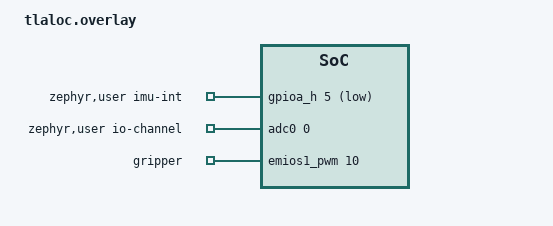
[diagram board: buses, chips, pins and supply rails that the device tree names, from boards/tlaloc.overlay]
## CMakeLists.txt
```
# tlaloc_llc: controlador de bajo nivel del Mobile Manipulator (Zephyr 4.5).
#   west build -b tlaloc AMR_LLC/firmware/tlaloc_llc        (hardware)
#   west build -b native_sim/native/64 AMR_LLC/firmware/tlaloc_llc   (SIL)
cmake_minimum_required(VERSION 3.20.0)

# Board out-of-tree: AMR_LLC/firmware/boards/omrover/tlaloc
list(APPEND BOARD_ROOT ${CMAKE_CURRENT_SOURCE_DIR}/..)

find_package(Zephyr REQUIRED HINTS $ENV{ZEPHYR_BASE})
project(tlaloc_llc)

set(LIB ${CMAKE_CURRENT_SOURCE_DIR}/../lib)
if(DEFINED ENV{AMR_ODOM_DIR})
  set(ODOM $ENV{AMR_ODOM_DIR})
else()
  set(ODOM ${CMAKE_CURRENT_SOURCE_DIR}/../../../AMR_localization/amr_odom)
endif()

target_include_directories(app PRIVATE
  src ${LIB}/amr_contract ${LIB}/amr_drive ${LIB}/roboclaw ${LIB}/bno08x ${LIB}/gim6010 ${ODOM})

target_sources(app PRIVATE
  src/main.c
  src/app_config.c
  src/llc.c
  src/gripper.c
  ${LIB}/amr_contract/amr_contract.c
  ${LIB}/amr_drive/amr_drive.c
  ${LIB}/roboclaw/roboclaw.c
  ${LIB}/bno08x/bno08x.c
  ${LIB}/gim6010/gim6010.c
  ${LIB}/gim6010/gim_arm.c
  ${ODOM}/omni.c
  ${ODOM}/ekf.c
)

if(CONFIG_ARCH_POSIX)
  target_sources(app PRIVATE
    src/hal_sim.c
    ${LIB}/roboclaw/roboclaw_sim.c
    ${LIB}/bno08x/bno08x_sim.c
    ${LIB}/gim6010/gim6010_sim.c)
else()
  target_sources(app PRIVATE src/hal_tlaloc.c)
endif()
```

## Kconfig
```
mainmenu "Tlaloc LLC (Mobile Manipulator)"

menu "Red y MQTT"

config TLALOC_BROKER_ADDR
	string "IPv4 del broker MQTT (la NUC en eno1)"
	default "192.168.50.1"

config TLALOC_BROKER_PORT
	int "Puerto del broker"
	default 18883

config TLALOC_MQTT_PREFIX
	string "Prefijo de topics (único por robot)"
	default "omrover/mm01"

endmenu

menu "Tracción (RoboClaw)"

config TLALOC_ALLOW_MOTION
	bool "Aceptar cmd/vel"
	default y
	help
	  Deshabilitado, todo cmd/vel se trata como inválido: la base queda
	  detenida pero se sigue publicando odometría (útil para empujar el
	  robot a mano y verificar encoders).

config TLALOC_COUNTS_PER_REV
	int "Cuentas de encoder por vuelta de RUEDA"
	default 2000
	help
	  E6B2-CWZ de 500 PPR x4 montado en el eje de la rueda (una vuelta de
	  rueda = una del encoder = dos del motor). Verificar: marcar la rueda,
	  girarla una vuelta a mano y leer el encoder en Motion Studio.

config TLALOC_MAX_QPPS
	int "QPPS máximo configurado en las RoboClaw"
	default 5000

config TLALOC_WHEEL_MAX_RPM
	int "Velocidad máxima física de la rueda (rpm)"
	default 82
	help
	  Motor de 165 rpm con rueda:motor 1:2. El límite por rueda es el menor
	  entre este valor (con 10 % de margen) y TLALOC_MAX_QPPS (3 %).

config TLALOC_RC_SERIAL_TIMEOUT_DS
	int "Timeout de Packet Serial que se programa en las RoboClaw (décimas de s)"
	range 0 255
	default 5
	help
	  Se envía al arrancar y tras cada reconexión (comando 14, volátil). Si el
	  MCU deja de enviar tramas, las RoboClaw detienen los motores en este
	  tiempo. 0 = no tocar el valor guardado en la RoboClaw.

config TLALOC_ARM_LIMIT_COUNTS
	int "Límite de seguridad del brazo en el MCU (counts, simétrico)"
	default 16384
	help
	  Ningún goal del brazo puede salir de +-este valor por junta. Con 16384
	  counts por vuelta del eje de salida equivale a +-360 grados. Si los
	  counts resultan ser del rotor (reductor 8:1, arm_gear_ratio = 8 en
	  arm.yaml), subirlo a 131072.

config TLALOC_SIGN_WHEEL1_FL
	int "Signo rueda 1 (fl, RoboClaw 128 M1)"
	range -1 1
	default 1

config TLALOC_SIGN_WHEEL2_RL
	int "Signo rueda 2 (rl, RoboClaw 129 M1)"
	range -1 1
	default 1

config TLALOC_SIGN_WHEEL3_RR
	int "Signo rueda 3 (rr, RoboClaw 129 M2)"
	range -1 1
	default 1

config TLALOC_SIGN_WHEEL4_FR
	int "Signo rueda 4 (fr, RoboClaw 128 M2)"
	range -1 1
	default 1

endmenu

menu "IMU (BNO080)"

config TLALOC_BNO080_ADDR
	hex "Dirección I2C de la BNO080"
	default 0x4A
	help
	  0x4A con SA0/DI a GND, 0x4B con SA0 a VCC.

config TLALOC_IMU_Z_DOWN
	bool "La BNO080 está montada con su eje z hacia abajo"

endmenu

menu "Gripper"

config TLALOC_GRIP_PULSE_OPEN_US
	int "Pulso del servo con el gripper abierto (us)"
	default 1000

config TLALOC_GRIP_PULSE_CLOSED_US
	int "Pulso del servo con el gripper cerrado (us)"
	default 2000

config TLALOC_ACS712_MV_PER_A_X10
	int "Sensibilidad del ACS712 vista en el ADC (mV/A x10)"
	default 1233
	help
	  ACS712-05B = 185 mV/A multiplicado por la relación del divisor hacia
	  el ADC de 3.3 V. Por defecto 2/3 (10k en serie y 20k a GND): 123.3.
	  Con 10k/10k (1/2) usar 925. El ACS712 pide >= 4.7k de carga, así que
	  no usar resistencias de 1k en el divisor.

config TLALOC_SIM_GRIP_OBJECT
	bool "native_sim: hay una pieza a media carrera del gripper"
	depends on ARCH_POSIX
	default y

endmenu

config TLALOC_FS26_WATCHDOG
	bool "Habilitar y alimentar el watchdog del FS26"
	default y if WDT_NXP_FS26
	help
	  Con el FS26 en modo normal, un firmware colgado provoca un reset. Al
	  depurar con breakpoints, poner el FS26 en modo debug o deshabilitarlo.

source "Kconfig.zephyr"
```

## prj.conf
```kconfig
# Red + MQTT 3.1.1 sobre TCP (enlace punto a punto con la NUC)
CONFIG_NETWORKING=y
CONFIG_NET_IPV4=y
CONFIG_NET_IPV6=n
CONFIG_NET_TCP=y
CONFIG_NET_SOCKETS=y
CONFIG_POSIX_API=y
CONFIG_MQTT_LIB=y

# printf de float/int64 en el JSON
CONFIG_CBPRINTF_FP_SUPPORT=y
CONFIG_REQUIRES_FULL_LIBC=y

CONFIG_LOG=y
CONFIG_MAIN_STACK_SIZE=6144
# main = cliente MQTT: por debajo de los hilos de control (2) e IMU (3)
CONFIG_MAIN_THREAD_PRIORITY=5
CONFIG_SYSTEM_WORKQUEUE_STACK_SIZE=2048

CONFIG_ENTROPY_GENERATOR=y
CONFIG_TEST_RANDOM_GENERATOR=y
```

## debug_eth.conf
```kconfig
# Diagnóstico del enlace Ethernet (KSZ8091RND). Se agrega al build normal:
#   west build -b tlaloc -p -- -DEXTRA_CONF_FILE=debug_eth.conf
# Shell en la consola OpenSDA (115200): `net iface`, `net ping 192.168.50.1`,
# `mdio ...` para leer registros del PHY. Ver README, "Si no hay enlace".
CONFIG_SHELL=y
CONFIG_SHELL_STACK_SIZE=4096
CONFIG_NET_SHELL=y
CONFIG_MDIO_SHELL=y
CONFIG_PHY_LOG_LEVEL_DBG=y
CONFIG_ETHERNET_LOG_LEVEL_DBG=y
# Sin movimiento: solo se prueba la red
CONFIG_TLALOC_ALLOW_MOTION=n
```

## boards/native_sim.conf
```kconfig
# SIL: el firmware corre como proceso Linux con RoboClaw y BNO080 simuladas y
# habla con el broker local por sockets del host.
CONFIG_NET_DRIVERS=y
CONFIG_NET_SOCKETS_OFFLOAD=y
CONFIG_NET_NATIVE_OFFLOADED_SOCKETS=y
CONFIG_ETH_NATIVE_TAP=n
CONFIG_TLALOC_BROKER_ADDR="127.0.0.1"
# boot_id distinto en cada ejecución
CONFIG_NATIVE_EXTRA_CMDLINE_ARGS="--seed-random"
# Tick de 1 ms: llc/imu sale cada 10 ms (con el default de 100 Hz se pierde la mitad)
CONFIG_SYS_CLOCK_TICKS_PER_SEC=1000
```

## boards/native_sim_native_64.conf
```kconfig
# SIL: el firmware corre como proceso Linux con RoboClaw y BNO080 simuladas y
# habla con el broker local por sockets del host.
CONFIG_NET_DRIVERS=y
CONFIG_NET_SOCKETS_OFFLOAD=y
CONFIG_NET_NATIVE_OFFLOADED_SOCKETS=y
CONFIG_ETH_NATIVE_TAP=n
CONFIG_TLALOC_BROKER_ADDR="127.0.0.1"
# boot_id distinto en cada ejecución
CONFIG_NATIVE_EXTRA_CMDLINE_ARGS="--seed-random"
```

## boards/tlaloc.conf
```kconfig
# IP estática en el enlace Ethernet directo con la NUC (eno1 = 192.168.50.1)
CONFIG_NET_CONFIG_SETTINGS=y
CONFIG_NET_CONFIG_NEED_IPV4=y
CONFIG_NET_CONFIG_MY_IPV4_ADDR="192.168.50.20"
CONFIG_NET_CONFIG_MY_IPV4_NETMASK="255.255.255.0"
CONFIG_NET_CONFIG_INIT_TIMEOUT=10

CONFIG_SERIAL=y
CONFIG_UART_INTERRUPT_DRIVEN=y
CONFIG_I2C=y
CONFIG_GPIO=y
CONFIG_PWM=y
CONFIG_ADC=y
CONFIG_SPI=y
# Brazo: 4 GIM6010-8 en FlexCAN0 a 1 Mbps
CONFIG_CAN=y
CONFIG_WATCHDOG=y

# El EKF y la cinemática usan float; el Cortex-M7 tiene FPU
CONFIG_FPU=y
```

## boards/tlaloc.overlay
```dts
/*
 * Señales que usa la app (el hardware está en boards/omrover/tlaloc).
 */
#include <zephyr/dt-bindings/pwm/pwm.h>

/ {
	zephyr,user {
		/* servo del gripper a 50 Hz en eMIOS1 ch10 (PTA27) */
		pwms = <&emios1_pwm 10 PWM_MSEC(20) PWM_POLARITY_NORMAL>;
		pwm-names = "gripper";
		/* ACS712 en ADC0 precisión ch0 (PTD1) */
		io-channels = <&adc0 0>;
		/* INT de la BNO080, activo bajo, PTA21 = gpioa_h 5 (EIRQ3) */
		imu-int-gpios = <&gpioa_h 5 GPIO_ACTIVE_LOW>;
	};
};
```

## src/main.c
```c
/*
 * tlaloc_llc: controlador de bajo nivel del Mobile Manipulator en la Tlaloc
 * (S32K344). Contrato MQTT v1 con la NUC (AMR_LLC/protocol/CONTRACT.md).
 *
 * Hilos (prioridad, periodo):
 *   control (2, 20 ms): watchdog de cmd/vel, RoboClaw, EKF, gripper, batería,
 *                       FS26. Funciona aunque se caiga la red: sin enlace frena.
 *   imu     (3, INT):   BNO080 por I2C (SH-2), entrega datos al núcleo.
 *   main    (MQTT):     conexión, comandos (QoS 1 con PUBACK y ack del
 *                       contrato) y telemetría a las tasas del contrato.
 * Toda la lógica vive en llc.c (probada en host); aquí solo hay hilos y red.
 */
#include <errno.h>
#include <stdio.h>
#include <string.h>

#include <zephyr/kernel.h>
#include <zephyr/logging/log.h>
#include <zephyr/net/mqtt.h>
#include <zephyr/net/socket.h>
#include <zephyr/random/random.h>
#include <zephyr/sys/atomic.h>

#include "app_config.h"
#include "hal.h"
#include "llc.h"

LOG_MODULE_REGISTER(tlaloc, LOG_LEVEL_INF);

#define CONTROL_PERIOD_MS 20
#define TOPIC_MAX 64

static llc_t llc;
static llc_imu_t imu;
static K_MUTEX_DEFINE(core_lock);
static atomic_t mqtt_up;
static char boot_id[17];
static char client_id[TOPIC_MAX];

/* --------------------------------------------------------------------- hilos */

static void control_thread(void *a, void *b, void *c)
{
	ARG_UNUSED(a);
	ARG_UNUSED(b);
	ARG_UNUSED(c);
	int64_t next = k_uptime_get();
	bool zero_logged = false;
	uint32_t faults_logged = 0;

	while (true) {
		uint32_t t0 = k_cycle_get_32();
		uint32_t now = k_uptime_get_32();
		uint32_t faults;
		float zero_mv = -1.0f;

		k_mutex_lock(&core_lock, K_FOREVER);
		llc_control_step(&llc, now, atomic_get(&mqtt_up) != 0);
		llc.cpu = (float)k_cyc_to_us_floor32(k_cycle_get_32() - t0) /
			  (CONTROL_PERIOD_MS * 1000.0f);
		faults = llc.faults;
		if (!zero_logged && llc.grip.zero_ready) {
			zero_mv = llc.grip.zero_mv;
		}
		k_mutex_unlock(&core_lock);
		hal_wdt_kick(now);

		/* diagnóstico de bring-up en la consola (fuera del lock) */
		if (zero_mv >= 0.0f) {
			zero_logged = true;
			LOG_INF("ACS712: cero en %.1f mV", (double)zero_mv);
		}
		if (faults != faults_logged) {
			LOG_INF("faults 0x%02x (bits: 0 RC128, 1 RC129, 2 IMU, 5 gripper, 6 batería)",
				faults);
			faults_logged = faults;
		}

		next += CONTROL_PERIOD_MS;
		if (next < k_uptime_get()) {
			next = k_uptime_get() + CONTROL_PERIOD_MS; /* atrasado: no acumular */
		}
		k_sleep(K_TIMEOUT_ABS_MS(next));
	}
}

K_THREAD_DEFINE(control_tid, 3072, control_thread, NULL, NULL, NULL, K_PRIO_PREEMPT(2), 0,
		K_TICKS_FOREVER);

static void imu_thread(void *a, void *b, void *c)
{
	ARG_UNUSED(a);
	ARG_UNUSED(b);
	ARG_UNUSED(c);
	uint32_t errors = 0;

	while (true) {
		hal_imu_wait(5);
		uint32_t now = k_uptime_get_32();
		int upd = llc_imu_service(&imu, now, 8);

		if (upd > 0) {
			k_mutex_lock(&core_lock, K_FOREVER);
			llc_imu_sample(&llc, &imu.bno.data, (uint32_t)upd, now);
			k_mutex_unlock(&core_lock);
		} else if (upd < 0) {
			if ((errors++ % 200U) == 0U) {
				LOG_WRN("BNO080 sin respuesta en 0x%02x", CONFIG_TLALOC_BNO080_ADDR);
			}
			k_msleep(5); /* INT pegado o bus caído: no girar en vacío */
		}
	}
}

K_THREAD_DEFINE(imu_tid, 2048, imu_thread, NULL, NULL, NULL, K_PRIO_PREEMPT(3), 0,
		K_TICKS_FOREVER);

/* ------------------------------------------------- shell de diagnóstico */

#ifdef CONFIG_SHELL
#include <stdlib.h>
#include <zephyr/shell/shell.h>

/* rc stat: bytes por la UART de las RoboClaw y estado del driver. */
static int cmd_rc_stat(const struct shell *sh, size_t argc, char **argv)
{
	hal_rc_stats_t s;

	ARG_UNUSED(argc);
	ARG_UNUSED(argv);
	hal_rc_stats(&s);
	k_mutex_lock(&core_lock, K_FOREVER);
	shell_print(sh, "uart: tx %u B, rx %u B, rx descartados %u, errores uart %u",
		    s.tx_bytes, s.rx_bytes, s.rx_dropped, s.uart_errors);
	for (int r = 0; r < 2; r++) {
		shell_print(sh, "rc %u: fallas seguidas %u, rc_err %u", llc.cfg.drive.rc_addr[r],
			    llc.drive.fail_count[r], llc.rc_err[r]);
	}
	k_mutex_unlock(&core_lock);
	return 0;
}

/* rc probe <addr>: pide la versión (cmd 21) y muestra la respuesta cruda. El
 * hilo de control queda fuera de la UART mientras dura (core_lock). */
static int cmd_rc_probe(const struct shell *sh, size_t argc, char **argv)
{
	rc_transport_t t = hal_roboclaw_transport();
	uint8_t req[2] = {(uint8_t)strtoul(argc > 1 ? argv[1] : "128", NULL, 0), 21U};
	uint8_t resp[64];
	size_t n = 0;
	char line[3 * sizeof(resp) + 1];
	char text[sizeof(resp) + 1];

	k_mutex_lock(&core_lock, K_FOREVER);
	k_msleep(30); /* que termine cualquier respuesta en curso */
	t.flush_rx(t.ctx);
	t.write(t.ctx, req, sizeof(req));
	while (n < sizeof(resp) && t.read(t.ctx, &resp[n], 1, n == 0 ? 50 : 10) == 0) {
		n++;
	}
	k_mutex_unlock(&core_lock);

	for (size_t i = 0; i < n; i++) {
		snprintf(&line[3 * i], 4, "%02x ", resp[i]);
		text[i] = (resp[i] >= 0x20 && resp[i] < 0x7f) ? (char)resp[i] : '.';
	}
	line[3 * n] = '\0';
	text[n] = '\0';
	if (n == 0) {
		shell_print(sh, "addr %u: sin respuesta en 50 ms", req[0]);
	} else {
		shell_print(sh, "addr %u: %u B: %s", req[0], (unsigned)n, line);
		shell_print(sh, "texto: %s", text);
	}
	return 0;
}

SHELL_STATIC_SUBCMD_SET_CREATE(rc_cmds,
	SHELL_CMD(stat, NULL, "Contadores de la UART de las RoboClaw", cmd_rc_stat),
	SHELL_CMD_ARG(probe, NULL, "probe <addr>: versión cruda (cmd 21)", cmd_rc_probe, 1, 1),
	SHELL_SUBCMD_SET_END);
SHELL_CMD_REGISTER(rc, &rc_cmds, "Diagnóstico de las RoboClaw", NULL);
#endif /* CONFIG_SHELL */

/* ---------------------------------------------------------------------- MQTT */

static const char *const cmd_names[LLC_CMD_COUNT] = {
	[LLC_CMD_VEL] = "cmd/vel",
	[LLC_CMD_ARM] = "cmd/arm",
	[LLC_CMD_GRIPPER] = "cmd/gripper",
	[LLC_CMD_ESTOP] = "cmd/estop",
	[LLC_CMD_ODOM_RESET] = "cmd/odom_reset",
};

static const struct {
	const char *name;
	uint32_t period_ms;
	enum mqtt_qos qos;
} tel_def[LLC_TEL_COUNT] = {
	[LLC_TEL_ODOM] = {"llc/odom", 20, MQTT_QOS_0_AT_MOST_ONCE},
	[LLC_TEL_IMU] = {"llc/imu", 10, MQTT_QOS_0_AT_MOST_ONCE},
	[LLC_TEL_WHEELS] = {"llc/wheels", 50, MQTT_QOS_0_AT_MOST_ONCE},
	[LLC_TEL_ARM] = {"llc/arm", 20, MQTT_QOS_0_AT_MOST_ONCE},
	[LLC_TEL_BATTERY] = {"llc/battery", 1000, MQTT_QOS_0_AT_MOST_ONCE},
	[LLC_TEL_STATUS] = {"llc/status", 500, MQTT_QOS_1_AT_LEAST_ONCE},
};

static char cmd_topics[LLC_CMD_COUNT][TOPIC_MAX];
static char tel_topics[LLC_TEL_COUNT][TOPIC_MAX];
static char topic_ack[TOPIC_MAX];

static uint8_t rx_buf[AMR_MAX_PAYLOAD + 128];
static uint8_t tx_buf[AMR_MAX_PAYLOAD + 128];
static char payload[AMR_MAX_PAYLOAD + 1];
static char out[AMR_MAX_PAYLOAD];
static char lwt_payload[48];
static struct mqtt_client client;
static struct sockaddr_storage broker;
static struct mqtt_topic will_topic;
static struct mqtt_utf8 will_msg;
static uint16_t msg_id = 1;

static uint16_t next_msg_id(void)
{
	if (++msg_id == 0U) {
		msg_id = 1;
	}
	return msg_id;
}

static int publish(const char *topic, const char *data, size_t len, enum mqtt_qos qos,
		   bool retain)
{
	struct mqtt_publish_param p = {0};

	p.message.topic.topic.utf8 = (const uint8_t *)topic;
	p.message.topic.topic.size = strlen(topic);
	p.message.topic.qos = qos;
	p.message.payload.data = (uint8_t *)data;
	p.message.payload.len = len;
	p.message_id = qos == MQTT_QOS_0_AT_MOST_ONCE ? 0U : next_msg_id();
	p.retain_flag = retain ? 1U : 0U;
	return mqtt_publish(&client, &p);
}

static amr_hdr_t make_hdr(void)
{
	amr_hdr_t h = {boot_id, k_uptime_get()};

	return h;
}

static void handle_command(const struct mqtt_publish_param *pub)
{
	const struct mqtt_utf8 *t = &pub->message.topic.topic;
	uint32_t len = pub->message.payload.len;
	int topic = -1;
	bool ok = false;
	int n;

	for (int i = 0; i < LLC_CMD_COUNT; i++) {
		if (t->size == strlen(cmd_topics[i]) && memcmp(t->utf8, cmd_topics[i], t->size) == 0) {
			topic = i;
			break;
		}
	}
	if (len <= AMR_MAX_PAYLOAD) {
		ok = mqtt_readall_publish_payload(&client, (uint8_t *)payload, len) == 0;
	} else {
		/* demasiado largo para el contrato: se drena y se trata como inválido */
		while (len > 0U) {
			uint32_t chunk = MIN(len, (uint32_t)AMR_MAX_PAYLOAD);

			if (mqtt_readall_publish_payload(&client, (uint8_t *)payload, chunk) != 0) {
				break;
			}
			len -= chunk;
		}
		len = 0;
	}
	if (pub->message.topic.qos == MQTT_QOS_1_AT_LEAST_ONCE) {
		struct mqtt_puback_param ack = {.message_id = pub->message_id};

		(void)mqtt_publish_qos1_ack(&client, &ack);
	}
	if (topic < 0) {
		return;
	}
	if (!ok) {
		len = 0; /* el parser lo rechaza: cmd/vel inválido detiene la base */
	}
	payload[len] = '\0';
	if (topic == LLC_CMD_VEL && !IS_ENABLED(CONFIG_TLALOC_ALLOW_MOTION)) {
		len = 0;
	}

	amr_hdr_t h = make_hdr();

	k_mutex_lock(&core_lock, K_FOREVER);
	n = llc_command(&llc, (llc_cmd_topic_t)topic, payload, len, pub->retain_flag != 0U, &h,
			k_uptime_get_32(), out, sizeof(out));
	k_mutex_unlock(&core_lock);
	if (n > 0) {
		(void)publish(topic_ack, out, (size_t)n, MQTT_QOS_1_AT_LEAST_ONCE, false);
	}
}

static void mqtt_evt(struct mqtt_client *const c, const struct mqtt_evt *evt)
{
	ARG_UNUSED(c);

	switch (evt->type) {
	case MQTT_EVT_CONNACK:
		if (evt->result == 0) {
			if (boot_id[0] == '\0') {
				/* nuevo por cada reset del MCU; el bridge reinicia sus
				 * referencias al verlo cambiar */
				snprintf(boot_id, sizeof(boot_id), "%08x%08x", sys_rand32_get(),
					 k_cycle_get_32());
			}
			atomic_set(&mqtt_up, 1);
			LOG_INF("MQTT conectado, boot_id %s", boot_id);
		}
		break;
	case MQTT_EVT_DISCONNECT:
		atomic_set(&mqtt_up, 0);
		LOG_WRN("MQTT desconectado");
		break;
	case MQTT_EVT_PUBLISH:
		handle_command(&evt->param.publish);
		break;
	default:
		break;
	}
}

static int subscribe_commands(void)
{
	struct mqtt_topic list[LLC_CMD_COUNT];
	struct mqtt_subscription_list subs = {
		.list = list,
		.list_count = LLC_CMD_COUNT,
		.message_id = next_msg_id(),
	};

	for (int i = 0; i < LLC_CMD_COUNT; i++) {
		list[i].topic.utf8 = (const uint8_t *)cmd_topics[i];
		list[i].topic.size = strlen(cmd_topics[i]);
		/* cmd/vel en QoS 0: una retransmisión entregaría una velocidad vieja */
		list[i].qos = i == LLC_CMD_VEL ? MQTT_QOS_0_AT_MOST_ONCE : MQTT_QOS_1_AT_LEAST_ONCE;
	}
	return mqtt_subscribe(&client, &subs);
}

static int connect_broker(void)
{
	struct sockaddr_in *b4 = (struct sockaddr_in *)&broker;
	struct zsock_pollfd pfd;
	int rc;

	b4->sin_family = AF_INET;
	b4->sin_port = htons(hal_broker_port());
	zsock_inet_pton(AF_INET, CONFIG_TLALOC_BROKER_ADDR, &b4->sin_addr);

	rc = amr_fmt_lwt(lwt_payload, sizeof(lwt_payload));
	if (rc <= 0) {
		return -EINVAL;
	}
	will_topic.topic.utf8 = (const uint8_t *)tel_topics[LLC_TEL_STATUS];
	will_topic.topic.size = strlen(tel_topics[LLC_TEL_STATUS]);
	will_topic.qos = MQTT_QOS_1_AT_LEAST_ONCE;
	will_msg.utf8 = (const uint8_t *)lwt_payload;
	will_msg.size = (uint32_t)rc;

	mqtt_client_init(&client);
	client.broker = &broker;
	client.evt_cb = mqtt_evt;
	client.client_id.utf8 = (const uint8_t *)client_id;
	client.client_id.size = strlen(client_id);
	client.protocol_version = MQTT_VERSION_3_1_1;
	client.clean_session = 1U;
	client.keepalive = 5U;
	client.will_topic = &will_topic;
	client.will_message = &will_msg;
	client.will_retain = 1U;
	client.rx_buf = rx_buf;
	client.rx_buf_size = sizeof(rx_buf);
	client.tx_buf = tx_buf;
	client.tx_buf_size = sizeof(tx_buf);
	client.transport.type = MQTT_TRANSPORT_NON_SECURE;

	rc = mqtt_connect(&client);
	if (rc != 0) {
		return rc;
	}
	pfd.fd = client.transport.tcp.sock;
	pfd.events = ZSOCK_POLLIN;
	for (int i = 0; i < 20 && !atomic_get(&mqtt_up); i++) {
		if (zsock_poll(&pfd, 1, 100) > 0 && mqtt_input(&client) != 0) {
			break;
		}
	}
	if (!atomic_get(&mqtt_up)) {
		mqtt_abort(&client);
		return -ETIMEDOUT;
	}
	/* Borra el LWT retenido de una sesión anterior (payload vacío + retain). */
	rc = publish(tel_topics[LLC_TEL_STATUS], "", 0, MQTT_QOS_1_AT_LEAST_ONCE, true);
	return rc != 0 ? rc : subscribe_commands();
}

static void publish_due(int64_t now, int64_t next[LLC_TEL_COUNT])
{
	for (int k = 0; k < LLC_TEL_COUNT; k++) {
		int n;

		if (now < next[k]) {
			continue;
		}
		next[k] += tel_def[k].period_ms;
		if (next[k] <= now) {
			next[k] = now + tel_def[k].period_ms;
		}
		amr_hdr_t h = make_hdr();

		k_mutex_lock(&core_lock, K_FOREVER);
		n = llc_telemetry(&llc, (llc_tel_t)k, &h, out, sizeof(out));
		k_mutex_unlock(&core_lock);
		if (n > 0) {
			(void)publish(tel_topics[k], out, (size_t)n, tel_def[k].qos, false);
		}
	}
}

static void serve_connection(void)
{
	struct zsock_pollfd pfd = {
		.fd = client.transport.tcp.sock,
		.events = ZSOCK_POLLIN,
	};
	int64_t next[LLC_TEL_COUNT];
	int64_t now = k_uptime_get();

	for (int k = 0; k < LLC_TEL_COUNT; k++) {
		next[k] = now + k; /* escalonados para no salir todos en el mismo ms */
	}
	while (atomic_get(&mqtt_up)) {
		int64_t wait = INT64_MAX;
		int rc;

		now = k_uptime_get();
		for (int k = 0; k < LLC_TEL_COUNT; k++) {
			wait = MIN(wait, next[k] - now);
		}
		rc = zsock_poll(&pfd, 1, (int)CLAMP(wait, 0, 10));
		if (rc < 0 ||
		    (rc > 0 && ((pfd.revents & (ZSOCK_POLLERR | ZSOCK_POLLHUP | ZSOCK_POLLNVAL)) ||
				mqtt_input(&client) != 0))) {
			break;
		}
		rc = mqtt_live(&client);
		if (rc != 0 && rc != -EAGAIN) {
			break;
		}
		publish_due(k_uptime_get(), next);
	}
	atomic_set(&mqtt_up, 0); /* el hilo de control frena en el siguiente ciclo */
	mqtt_abort(&client);
}

int main(void)
{
	llc_cfg_t cfg;
	rc_transport_t rct;
	bno_transport_t bnot;
	gim_transport_t cant;
	llc_io_t io;

	const char *prefix = hal_mqtt_prefix();

	for (int i = 0; i < LLC_CMD_COUNT; i++) {
		snprintf(cmd_topics[i], TOPIC_MAX, "%s/%s", prefix, cmd_names[i]);
	}
	for (int k = 0; k < LLC_TEL_COUNT; k++) {
		snprintf(tel_topics[k], TOPIC_MAX, "%s/%s", prefix, tel_def[k].name);
	}
	snprintf(topic_ack, sizeof(topic_ack), "%s/llc/ack", prefix);
	snprintf(client_id, sizeof(client_id), "%s/llc", prefix);

	if (hal_init() != 0) {
		LOG_ERR("falló la inicialización del hardware: la base queda detenida");
		return 0;
	}
	if (IS_ENABLED(CONFIG_TLALOC_FS26_WATCHDOG) && hal_wdt_start() != 0) {
		LOG_WRN("sin watchdog externo");
	}
	app_config(&cfg);
	rct = hal_roboclaw_transport();
	bnot = hal_imu_transport();
	cant = hal_can_transport();
	io = hal_io();
	if (!llc_init(&llc, &cfg, &rct, &cant, &io)) {
		LOG_ERR("configuración de tracción inválida: la base no se moverá");
	}
	llc_imu_init(&imu, &bnot);
	k_thread_start(control_tid);
	k_thread_start(imu_tid);

	LOG_INF("Tlaloc LLC: broker %s:%d prefijo %s, movimiento %s", CONFIG_TLALOC_BROKER_ADDR,
		hal_broker_port(), prefix,
		IS_ENABLED(CONFIG_TLALOC_ALLOW_MOTION) ? "HABILITADO" : "deshabilitado");
	LOG_INF("ruedas mecanum: r=%.4f m lx=%.4f m ly=%.4f m, %d cuentas/vuelta, max %.2f rad/s",
		(double)cfg.drive.wheel_radius, (double)cfg.drive.half_length,
		(double)cfg.drive.half_width,
		(int)cfg.drive.counts_per_rev, (double)cfg.drive.max_wheel_rad_s);

	while (true) {
		int rc = connect_broker();

		if (rc == 0) {
			serve_connection();
		} else {
			LOG_WRN("no se pudo conectar al broker (%d), reintentando", rc);
		}
		k_msleep(1000);
	}
	return 0;
}
```

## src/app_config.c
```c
/* Configuración del núcleo a partir de Kconfig (prj.conf y boards/<board>.conf). */
#include "app_config.h"

void app_config(llc_cfg_t *cfg)
{
	llc_default_cfg(cfg);

	cfg->drive.counts_per_rev = (float)CONFIG_TLALOC_COUNTS_PER_REV;
	/* Límite por rueda: el menor entre el QPPS de las RoboClaw (3 % de margen)
	 * y la velocidad física del motorreductor (10 % de margen). */
	{
		float by_qpps = 0.97f * (float)CONFIG_TLALOC_MAX_QPPS * 6.28318530718f /
				cfg->drive.counts_per_rev;
		float by_rpm = 0.9f * (float)CONFIG_TLALOC_WHEEL_MAX_RPM * 6.28318530718f / 60.0f;

		cfg->drive.max_wheel_rad_s = by_qpps < by_rpm ? by_qpps : by_rpm;
	}
	cfg->drive.rc_serial_timeout_ds = (uint8_t)CONFIG_TLALOC_RC_SERIAL_TIMEOUT_DS;
	for (int i = 0; i < GIM_ARM_JOINTS; i++) {
		cfg->arm.pos_min[i] = -CONFIG_TLALOC_ARM_LIMIT_COUNTS;
		cfg->arm.pos_max[i] = CONFIG_TLALOC_ARM_LIMIT_COUNTS;
	}
	cfg->drive.map[0].sign = (int8_t)CONFIG_TLALOC_SIGN_WHEEL1_FL;
	cfg->drive.map[1].sign = (int8_t)CONFIG_TLALOC_SIGN_WHEEL2_RL;
	cfg->drive.map[2].sign = (int8_t)CONFIG_TLALOC_SIGN_WHEEL3_RR;
	cfg->drive.map[3].sign = (int8_t)CONFIG_TLALOC_SIGN_WHEEL4_FR;

	cfg->imu_z_sign = IS_ENABLED(CONFIG_TLALOC_IMU_Z_DOWN) ? -1.0f : 1.0f;

	cfg->grip.pulse_open_us = CONFIG_TLALOC_GRIP_PULSE_OPEN_US;
	cfg->grip.pulse_closed_us = CONFIG_TLALOC_GRIP_PULSE_CLOSED_US;
	cfg->grip.mv_per_a = (float)CONFIG_TLALOC_ACS712_MV_PER_A_X10 / 10.0f;
}
```

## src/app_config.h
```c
#ifndef TLALOC_APP_CONFIG_H
#define TLALOC_APP_CONFIG_H

#include <zephyr/kernel.h>

#include "llc.h"

/* Valores por defecto de llc + ajustes de Kconfig (signos, cuentas, servo...). */
void app_config(llc_cfg_t *cfg);

#endif /* TLALOC_APP_CONFIG_H */
```

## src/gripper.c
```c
#include "gripper.h"

#include <math.h>
#include <string.h>

void grip_default_cfg(grip_cfg_t *cfg)
{
	memset(cfg, 0, sizeof(*cfg));
	cfg->pulse_open_us = 1000;   /* servo MOT-135: 1000-2000 us a 50 Hz */
	cfg->pulse_closed_us = 2000;
	cfg->speed = 1.0f;
	/* ACS712-05B: 185 mV/A a 5 V. Con un divisor 2/3 (10k/20k) hacia el ADC de
	 * 3.3 V se ve 123.3 mV/A; con 1/2 serían 92.5 (TLALOC_ACS712_MV_PER_A_X10). */
	cfg->mv_per_a = 123.3f;
	cfg->cur_tau_s = 0.03f;
	cfg->grasp_ms = 80;
	cfg->hard_limit_a = 3.0f;
	cfg->hard_limit_ms = 300;
	cfg->back_off = 0.1f;
	cfg->zero_cal_ms = 500;
}

void grip_init(grip_t *g, const grip_cfg_t *cfg)
{
	memset(g, 0, sizeof(*g));
	g->cfg = *cfg;
	g->max_cur = 1.0f;
}

static float clamp01(float v)
{
	return v < 0.0f ? 0.0f : (v > 1.0f ? 1.0f : v);
}

void grip_command(grip_t *g, float pos, float max_cur)
{
	pos = clamp01(pos);
	if (pos < g->pos) {
		g->grasped = false;   /* abrir suelta la pieza */
	}
	g->target = pos;
	g->max_cur = max_cur;
	g->overcurrent = false;
	g->over_ms = 0;       /* el pico de arranque del nuevo movimiento no cuenta */
	g->hard_ms = 0;
}

uint32_t grip_pulse_us(const grip_t *g)
{
	float span = (float)g->cfg.pulse_closed_us - (float)g->cfg.pulse_open_us;

	return (uint32_t)lroundf((float)g->cfg.pulse_open_us + g->pos * span);
}

uint32_t grip_step(grip_t *g, uint32_t dt_ms, float adc_mv, bool adc_ok)
{
	float dt = (float)dt_ms * 1e-3f;
	float step = g->cfg.speed * dt;

	g->adc_fault = !adc_ok;
	if (!g->zero_ready) {
		if (adc_ok) {
			g->cal_acc += (double)adc_mv;
			g->cal_n++;
		}
		g->cal_ms += dt_ms;
		if (g->cal_ms >= g->cfg.zero_cal_ms && g->cal_n > 0U) {
			g->zero_mv = (float)(g->cal_acc / (double)g->cal_n);
			g->zero_ready = true;
		}
		return grip_pulse_us(g);   /* quieto mientras calibra */
	}

	if (adc_ok) {
		float i = fabsf((adc_mv - g->zero_mv) / g->cfg.mv_per_a);
		float a = dt / (g->cfg.cur_tau_s + dt);

		g->cur_a += a * (i - g->cur_a);
	}

	/* Sobrecorriente sostenida: marca falla y abre back_off; si sigue alta otro
	 * hard_limit_ms, vuelve a abrir (protege el servo de quedarse en bloqueo). */
	if (adc_ok && g->cur_a > g->cfg.hard_limit_a) {
		g->hard_ms += dt_ms;
		if (g->hard_ms >= g->cfg.hard_limit_ms) {
			g->overcurrent = true;
			g->grasped = false;
			g->target = clamp01(g->pos - g->cfg.back_off);
			g->hard_ms = 0;
		}
	} else {
		g->hard_ms = 0;
	}

	if (g->target > g->pos && !g->grasped) {
		/* cerrando: ¿tocó la pieza? (sin ADC no hay detección: no se asume agarre) */
		if (adc_ok && g->cur_a > g->max_cur) {
			if (g->over_ms == 0U) {
				g->contact_pos = g->pos;   /* donde empezó a subir la corriente */
			}
			g->over_ms += dt_ms;
			if (g->over_ms >= g->cfg.grasp_ms) {
				/* vuelve al punto de contacto: aprieta con la corriente
				 * de contacto, no con la del exceso de recorrido */
				g->grasped = true;
				g->target = g->contact_pos;
			}
		} else {
			g->over_ms = 0;
		}
	}

	if (g->pos < g->target) {
		g->pos = (g->target - g->pos) < step ? g->target : g->pos + step;
	} else if (g->pos > g->target) {
		g->pos = (g->pos - g->target) < step ? g->target : g->pos - step;
	}
	return grip_pulse_us(g);
}
```

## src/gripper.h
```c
/*
 * Gripper: servo de posición (PWM 50 Hz) + ACS712 en serie con su alimentación.
 * C99 portable (pruebas en host); el HAL aplica el pulso y lee el ADC.
 *
 * El servo no tiene realimentación de posición: grip.pos es la posición
 * comandada (con límite de velocidad). El agarre se detecta por corriente:
 * mientras cierra, si |I| filtrada supera max_cur durante grasp_ms, se congela
 * la posición donde está (el servo sigue apretando con esa corriente) y se
 * marca grasped; la consigna vuelve al punto donde la corriente empezó a
 * subir. Cerrar hasta el tope sin superar max_cur NO es agarre.
 *
 * Al arrancar se mide el cero del ACS712 (servo quieto, zero_cal_ms) y hasta
 * entonces no se mueve.
 */
#ifndef TLALOC_GRIPPER_H
#define TLALOC_GRIPPER_H

#include <stdbool.h>
#include <stdint.h>

#ifdef __cplusplus
extern "C" {
#endif

typedef struct {
	uint32_t pulse_open_us;     /* pulso con pos = 0 (abierto) */
	uint32_t pulse_closed_us;   /* pulso con pos = 1 (cerrado) */
	float speed;                /* recorrido completo por segundo (1/s) */
	float mv_per_a;             /* sensibilidad vista en el pin del ADC (con divisor) */
	float cur_tau_s;            /* constante de tiempo del filtro de corriente */
	uint32_t grasp_ms;          /* tiempo sobre max_cur para declarar agarre */
	float hard_limit_a;         /* sobrecorriente: abre un poco y marca falla */
	uint32_t hard_limit_ms;
	float back_off;             /* cuánto abre ante sobrecorriente (0..1) */
	uint32_t zero_cal_ms;
} grip_cfg_t;

typedef struct {
	grip_cfg_t cfg;
	float target;
	float pos;
	float max_cur;
	float contact_pos;
	float cur_a;                /* |I| filtrada */
	float zero_mv;
	bool zero_ready;
	bool grasped;
	bool overcurrent;           /* falla latcheada hasta el siguiente comando */
	bool adc_fault;
	uint32_t cal_ms;
	double cal_acc;
	uint32_t cal_n;
	uint32_t over_ms;
	uint32_t hard_ms;
} grip_t;

void grip_default_cfg(grip_cfg_t *cfg);
void grip_init(grip_t *g, const grip_cfg_t *cfg);
/* pos 0 (abierto) .. 1 (cerrado); max_cur en A. Abrir borra grasped. */
void grip_command(grip_t *g, float pos, float max_cur);
/* Un ciclo. adc_mv: salida del ACS712 en el pin del ADC; adc_ok = lectura válida.
 * Devuelve el pulso a aplicar en microsegundos. */
uint32_t grip_step(grip_t *g, uint32_t dt_ms, float adc_mv, bool adc_ok);
uint32_t grip_pulse_us(const grip_t *g);

#ifdef __cplusplus
}
#endif

#endif /* TLALOC_GRIPPER_H */
```

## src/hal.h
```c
/*
 * Capa de hardware de tlaloc_llc. Dos implementaciones:
 *   hal_tlaloc.c: Zephyr en la Tlaloc (LPUART3, LPI2C0, eMIOS1, ADC0, FS26, FlexCAN0)
 *   hal_sim.c:    native_sim, con los simuladores de RoboClaw, BNO080 y GIM6010-8
 * Todo lo demás (llc.c y las librerías de lib/) es igual en ambas.
 */
#ifndef TLALOC_HAL_H
#define TLALOC_HAL_H

#include <stdbool.h>
#include <stdint.h>

#include "bno08x.h"
#include "gim6010.h"
#include "llc.h"
#include "roboclaw.h"

int hal_init(void);
rc_transport_t hal_roboclaw_transport(void);
/* Contadores de la UART de las RoboClaw desde el arranque (diagnóstico). */
typedef struct {
	uint32_t tx_bytes;
	uint32_t rx_bytes;
	uint32_t rx_dropped;
	uint32_t uart_errors;
} hal_rc_stats_t;
void hal_rc_stats(hal_rc_stats_t *s);
bno_transport_t hal_imu_transport(void);
/* Bus CAN del brazo. send/recv en NULL si el bus no está disponible. */
gim_transport_t hal_can_transport(void);
llc_io_t hal_io(void);
/* Bloquea hasta la interrupción de la BNO080 o hasta timeout_ms. */
void hal_imu_wait(int32_t timeout_ms);
/* Arranca el watchdog externo (FS26). 0 si quedó activo, <0 si no hay. */
int hal_wdt_start(void);
/* Llamar desde el lazo de control cada ~20 ms; el HAL respeta la ventana. */
void hal_wdt_kick(uint32_t now_ms);
/* Destino MQTT. En la Tlaloc sale de Kconfig; en native_sim se puede cambiar
 * con --broker-port=N y --prefix=STR (pruebas de integración en paralelo). */
uint16_t hal_broker_port(void);
const char *hal_mqtt_prefix(void);

#endif /* TLALOC_HAL_H */
```

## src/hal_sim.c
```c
/*
 * HAL de native_sim: el firmware corre como proceso Linux contra los mismos
 * simuladores de bytes que usan las pruebas en host (RoboClaw Packet Serial y
 * BNO080 SHTP). Un hilo avanza la física a 200 Hz: velocidad real de las
 * ruedas -> cinemática directa -> pose real -> reportes de la IMU.
 * Así el bridge de la NUC ve un MCU completo sin hardware.
 */
#include <errno.h>
#include <math.h>

#include <zephyr/kernel.h>
#include <zephyr/logging/log.h>

#include "app_config.h"
#include "bno08x_sim.h"
#include "gim6010_sim.h"
#include "hal.h"
#include "omni.h"
#include "roboclaw_sim.h"

#include "cmdline.h" /* opciones de línea de comandos de native_sim */
#include "soc.h"

LOG_MODULE_REGISTER(hal_sim, LOG_LEVEL_INF);

#define SIM_PERIOD_MS 5

static K_MUTEX_DEFINE(sim_lock);
static rc_sim_t rc;
static gim_sim_t gim;
static bno_sim_t bno;
static rc_transport_t rc_inner;
static bno_transport_t bno_inner;
static amr_drive_cfg_t geo;
static amr_omni_t kin;
static double yaw;
static float grip_pos_us = 1000.0f;
static K_SEM_DEFINE(imu_sem, 0, 1);
static int64_t sim_ticks;

/* Integra la física hasta el instante actual (con sim_lock tomado). Se llama
 * en cada transacción con las RoboClaw, no solo en el hilo de física: así un
 * encoder leído refleja el tiempo transcurrido hasta la lectura, como en el
 * hardware, y la velocidad medida por el núcleo no sufre aliasing entre el
 * periodo del hilo de física y el del control. */
static void sim_advance_locked(void)
{
	float w[AMR_OMNI_WHEELS], vx, vy, wz;
	int64_t now = k_uptime_ticks();
	double dt = (double)k_ticks_to_us_floor64((uint64_t)(now - sim_ticks)) * 1e-6;

	if (!(dt > 0.0)) {
		return;
	}
	sim_ticks = now;
	if (dt > 0.05) {
		dt = 0.05;
	}
	rc_sim_step(&rc, dt);
	for (int i = 0; i < AMR_OMNI_WHEELS; i++) {
		const amr_wheel_map_t *m = &geo.map[i];

		w[i] = (float)(rc.dev[m->rc].speed[m->motor] * m->sign * 6.283185307179586 /
			       (double)geo.counts_per_rev);
	}
	amr_omni_forward(&kin, w, &vx, &vy, &wz);
	yaw += (double)wz * dt;
	bno_sim_set_motion(&bno, (float)yaw, wz, 0.0f, 0.0f);
	bno_sim_step(&bno, dt);
	gim_sim_step(&gim, dt);
}

/* --------------------------------------------------------------- RoboClaw */

static int sim_rc_write(void *ctx, const uint8_t *buf, size_t n)
{
	int r;

	k_mutex_lock(&sim_lock, K_FOREVER);
	sim_advance_locked();
	r = rc_inner.write(ctx, buf, n);
	k_mutex_unlock(&sim_lock);
	return r;
}

static int sim_rc_read(void *ctx, uint8_t *buf, size_t n, uint32_t timeout_ms)
{
	int r;

	k_mutex_lock(&sim_lock, K_FOREVER);
	r = rc_inner.read(ctx, buf, n, timeout_ms);
	k_mutex_unlock(&sim_lock);
	if (r <= 0) {
		k_msleep(timeout_ms); /* sin respuesta: un timeout real consume el tiempo */
	}
	return r;
}

static void sim_rc_flush(void *ctx)
{
	k_mutex_lock(&sim_lock, K_FOREVER);
	if (rc_inner.flush_rx != NULL) {
		rc_inner.flush_rx(ctx);
	}
	k_mutex_unlock(&sim_lock);
}

rc_transport_t hal_roboclaw_transport(void)
{
	rc_transport_t t = {sim_rc_write, sim_rc_read, sim_rc_flush, rc_inner.ctx};

	return t;
}

void hal_rc_stats(hal_rc_stats_t *s)
{
	*s = (hal_rc_stats_t){0}; /* el simulador no pasa por una UART */
}

/* ----------------------------------------------------------------- BNO080 */

static int sim_imu_write(void *ctx, const uint8_t *buf, size_t n)
{
	int r;

	k_mutex_lock(&sim_lock, K_FOREVER);
	r = bno_inner.write(ctx, buf, n);
	k_mutex_unlock(&sim_lock);
	return r;
}

static int sim_imu_read(void *ctx, uint8_t *buf, size_t n)
{
	int r;

	k_mutex_lock(&sim_lock, K_FOREVER);
	r = bno_inner.read(ctx, buf, n);
	k_mutex_unlock(&sim_lock);
	return r;
}

/* ---------------------------------------------------------------- CAN brazo */

static int sim_can_send(void *ctx, uint16_t id, const uint8_t *data, uint8_t len)
{
	gim_transport_t t = gim_sim_transport(&gim);
	int r;

	ARG_UNUSED(ctx);
	k_mutex_lock(&sim_lock, K_FOREVER);
	sim_advance_locked();
	r = t.send(t.ctx, id, data, len);
	k_mutex_unlock(&sim_lock);
	return r;
}

static int sim_can_recv(void *ctx, uint16_t *id, uint8_t data[8], uint8_t *len,
			uint32_t timeout_ms)
{
	gim_transport_t t = gim_sim_transport(&gim);
	int r;

	ARG_UNUSED(ctx);
	k_mutex_lock(&sim_lock, K_FOREVER);
	r = t.recv(t.ctx, id, data, len, timeout_ms);
	k_mutex_unlock(&sim_lock);
	if (r <= 0) {
		k_msleep(timeout_ms); /* un timeout real consume el tiempo */
	}
	return r;
}

gim_transport_t hal_can_transport(void)
{
	gim_transport_t t = {sim_can_send, sim_can_recv, NULL};

	return t;
}

bno_transport_t hal_imu_transport(void)
{
	bno_transport_t t = {sim_imu_write, sim_imu_read, bno_inner.ctx};

	return t;
}

void hal_imu_wait(int32_t timeout_ms)
{
	(void)k_sem_take(&imu_sem, K_MSEC(timeout_ms));
}

/* --------------------------------------------------------- servo y ACS712 */

static int sim_servo(void *ctx, uint32_t pulse_us)
{
	ARG_UNUSED(ctx);
	grip_pos_us = (float)pulse_us;
	return 0;
}

static int sim_adc(void *ctx, float *mv)
{
	ARG_UNUSED(ctx);
	/* ACS712 en reposo (0 A) visto a través del divisor: 2.5 V * 2/3. Con
	 * CONFIG_TLALOC_SIM_GRIP_OBJECT el servo "toca" una pieza a media carrera. */
	float amps = 0.05f;

	if (IS_ENABLED(CONFIG_TLALOC_SIM_GRIP_OBJECT) && grip_pos_us >= 1550.0f) {
		amps = 1.5f;
	}
	*mv = 1650.0f + amps * (float)CONFIG_TLALOC_ACS712_MV_PER_A_X10 / 10.0f;
	return 0;
}

llc_io_t hal_io(void)
{
	llc_io_t io = {sim_servo, sim_adc, NULL};

	return io;
}

int hal_wdt_start(void)
{
	return -ENOTSUP;
}

void hal_wdt_kick(uint32_t now_ms)
{
	ARG_UNUSED(now_ms);
}

/* ----------------------------------------------------------------- física */

static void sim_thread(void *a, void *b, void *c)
{
	ARG_UNUSED(a);
	ARG_UNUSED(b);
	ARG_UNUSED(c);
	k_mutex_lock(&sim_lock, K_FOREVER);
	sim_ticks = k_uptime_ticks();
	k_mutex_unlock(&sim_lock);
	while (true) {
		k_mutex_lock(&sim_lock, K_FOREVER);
		sim_advance_locked();
		k_mutex_unlock(&sim_lock);
		k_sem_give(&imu_sem);
		k_msleep(SIM_PERIOD_MS);
	}
}

K_THREAD_DEFINE(sim_tid, 2048, sim_thread, NULL, NULL, NULL, K_PRIO_PREEMPT(1), 0,
		K_TICKS_FOREVER);

static uint32_t opt_port = CONFIG_TLALOC_BROKER_PORT;
static char *opt_prefix;

static void add_options(void)
{
	static struct args_struct_t opts[] = {
		{.option = "broker-port", .name = "port", .type = 'u', .dest = &opt_port,
		 .descript = "Puerto del broker MQTT (por defecto CONFIG_TLALOC_BROKER_PORT)"},
		{.option = "prefix", .name = "topic", .type = 's', .dest = &opt_prefix,
		 .descript = "Prefijo de topics MQTT (por defecto CONFIG_TLALOC_MQTT_PREFIX)"},
		ARG_TABLE_ENDMARKER,
	};

	native_add_command_line_opts(opts);
}
NATIVE_TASK(add_options, PRE_BOOT_1, 20);

uint16_t hal_broker_port(void)
{
	return (uint16_t)opt_port;
}

const char *hal_mqtt_prefix(void)
{
	return opt_prefix != NULL ? opt_prefix : CONFIG_TLALOC_MQTT_PREFIX;
}

int hal_init(void)
{
	llc_cfg_t cfg;

	app_config(&cfg); /* misma geometría y signos que el núcleo */
	geo = cfg.drive;
	if (!amr_mecanum_init(&kin, geo.wheel_radius, geo.half_length, geo.half_width)) {
		return -EINVAL;
	}
	rc_sim_init(&rc, geo.rc_addr[0], geo.rc_addr[1]);
	gim_sim_init(&gim);
	bno_sim_init(&bno);
	bno.gyro_bias = 0.01f; /* sesgo realista: el EKF debe absorberlo con el yaw */
	rc_inner = rc_sim_transport(&rc);
	bno_inner = bno_sim_transport(&bno);
	k_thread_start(sim_tid);
	LOG_INF("native_sim: 2 RoboClaw y BNO080 simuladas");
	return 0;
}
```

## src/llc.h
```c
/*
 * Núcleo del controlador de bajo nivel de Tlaloc (C99 portable, sin Zephyr).
 *
 * Integra el contrato MQTT v1 (amr_contract), la tracción con 2 RoboClaw
 * (amr_drive), el EKF de odometría (amr_odom), la BNO080 (bno08x), el brazo
 * de 4 GIM6010-8 por CAN (gim_arm) y el gripper. No hace I/O de red ni crea hilos: main.c llama a estas funciones
 * desde sus hilos con los locks adecuados, y tests/host_test.c las ejecuta en
 * host con los simuladores de RoboClaw y BNO080.
 *
 * Hilos en el firmware (ver main.c):
 *   control (20 ms): llc_control_step()  -> RoboClaw, CAN del brazo, EKF, gripper, batería
 *   imu    (INT/5 ms): llc_imu_service() -> I2C BNO080; llc_imu_sample() con el lock
 *   main   (MQTT):   llc_command(), llc_telemetry()
 */
#ifndef TLALOC_LLC_H
#define TLALOC_LLC_H

#include <stdbool.h>
#include <stddef.h>
#include <stdint.h>

#include "amr_contract.h"
#include "amr_drive.h"
#include "bno08x.h"
#include "ekf.h"
#include "gim_arm.h"
#include "gripper.h"
#include "roboclaw.h"

#ifdef __cplusplus
extern "C" {
#endif

typedef struct {
	/* 0 en éxito. El pulso se aplica a 50 Hz (servo). */
	int (*servo_set_us)(void *ctx, uint32_t pulse_us);
	/* Tensión en el pin del ADC del ACS712, en mV. */
	int (*adc_read_mv)(void *ctx, float *mv);
	void *ctx;
} llc_io_t;

typedef struct {
	amr_drive_cfg_t drive;
	amr_ekf_cfg_t ekf;
	grip_cfg_t grip;
	gim_arm_cfg_t arm;
	uint32_t can_timeout_ms;     /* por transacción con un GIM6010-8 */
	uint32_t rc_timeout_ms;      /* por transacción RoboClaw */
	uint8_t rc_retries;
	uint32_t imu_timeout_ms;     /* sin datos -> falla IMU, EKF solo con ruedas */
	float imu_z_sign;            /* +1 si el z de la BNO080 apunta hacia arriba */
	float battery_critical_v;
	uint32_t slow_period_ms;     /* batería */
} llc_cfg_t;

typedef enum {
	LLC_CMD_VEL,
	LLC_CMD_ARM,
	LLC_CMD_GRIPPER,
	LLC_CMD_ESTOP,
	LLC_CMD_ODOM_RESET,
	LLC_CMD_COUNT
} llc_cmd_topic_t;

typedef enum {
	LLC_TEL_ODOM,
	LLC_TEL_IMU,
	LLC_TEL_WHEELS,
	LLC_TEL_ARM,
	LLC_TEL_BATTERY,
	LLC_TEL_STATUS,
	LLC_TEL_COUNT
} llc_tel_t;

/* Estado de la IMU, propiedad del hilo IMU (lock propio en main.c). */
typedef struct {
	bno08x_t bno;
	bool configured;
	bool attempted;
	uint32_t enable_ms;          /* último intento de habilitar reportes */
	uint32_t grv_interval_us;
	uint32_t gyro_interval_us;
	uint32_t accel_interval_us;
} llc_imu_t;

typedef struct {
	llc_cfg_t cfg;
	llc_io_t io;
	roboclaw_t rc;
	amr_drive_t drive;
	bool drive_ok;
	amr_drive_meas_t meas;
	amr_ekf_t ekf;
	grip_t grip;
	gim_bus_t can;
	gim_arm_t arm;
	bool arm_ok;                 /* hay transporte CAN */
	amr_vel_wd_t wd;
	amr_seq_t seq[LLC_CMD_COUNT];
	bool estop;
	bool estop_applied;
	bool started;                /* primera medición válida de encoders */
	uint32_t faults;
	uint32_t rc_err[2];
	uint8_t prev_fail[2];
	/* IMU (copia del último dato, la pone llc_imu_sample) */
	bno08x_data_t imu;
	bool imu_valid;
	bool imu_new_quat;
	bool imu_new_gyro;
	uint32_t imu_ms;
	/* batería */
	float batt_v;
	float logic_v;
	bool batt_valid;
	uint32_t slow_ms;
	/* tiempos */
	bool stepped;
	uint32_t last_ms;
	uint32_t servo_us;
	float cpu;                   /* ocupación del lazo de control (0..1) */
} llc_t;

void llc_default_cfg(llc_cfg_t *cfg);
/* false si la configuración es inválida (la base queda detenida). can_t puede
 * ser NULL: sin brazo, cmd/arm se rechaza salvo disable/clear. */
bool llc_init(llc_t *l, const llc_cfg_t *cfg, const rc_transport_t *rc_t,
	      const gim_transport_t *can_t, const llc_io_t *io);

/* Procesa un comando del contrato. Escribe en ack el JSON de llc/ack cuando el
 * comando lo requiere y devuelve su longitud (0 si no hay ack, p. ej. cmd/vel). */
int llc_command(llc_t *l, llc_cmd_topic_t topic, const char *json, size_t len, bool retain,
		const amr_hdr_t *hdr, uint32_t now_ms, char *ack, size_t ack_size);

/* Ciclo de control (20 ms). link_ok: sesión MQTT activa. */
void llc_control_step(llc_t *l, uint32_t now_ms, bool link_ok);

/* Telemetría: longitud del JSON o -1. */
int llc_telemetry(const llc_t *l, llc_tel_t kind, const amr_hdr_t *hdr, char *buf, size_t size);

/* ---------------------------------------------------------------- IMU */
void llc_imu_init(llc_imu_t *imu, const bno_transport_t *t);
/* Atiende la BNO080: re-habilita reportes tras un reset y drena hasta
 * max_packets. Devuelve la máscara BNO_UPD_* leída (0 si nada), <0 si error de bus. */
int llc_imu_service(llc_imu_t *imu, uint32_t now_ms, int max_packets);
/* Entrega el último dato al núcleo (llamar con el lock del núcleo). */
void llc_imu_sample(llc_t *l, const bno08x_data_t *d, uint32_t upd, uint32_t now_ms);

#ifdef __cplusplus
}
#endif

#endif /* TLALOC_LLC_H */
```
